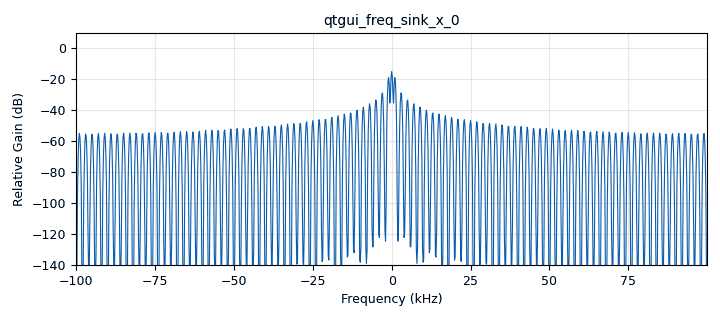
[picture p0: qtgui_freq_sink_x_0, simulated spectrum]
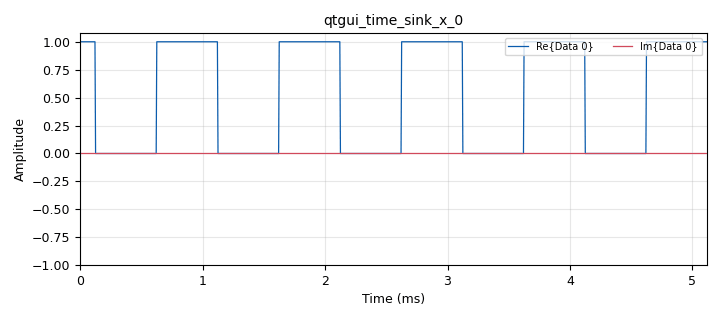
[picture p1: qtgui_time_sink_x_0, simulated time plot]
options:
  parameters:
    generate_options: qt_gui
    id: parte3_3
    output_language: python
    title: Not titled yet
  states: {}

blocks:
- name: A
  id: variable_qtgui_range
  parameters:
    label: Amplitud señal
    start: '0'
    step: '1e-4'
    stop: '1'
    value: '1'
  states: {}
- name: GTX
  id: variable_qtgui_range
  parameters:
    label: Ganancia del TX
    start: '0'
    step: '1'
    stop: '30'
    value: '0'
  states: {}
- name: fc
  id: variable_qtgui_range
  parameters:
    label: Frecuencia portadora
    start: 50e6
    step: 1e6
    stop: 2.2e9
    value: 50e6
  states: {}
- name: fm
  id: variable_qtgui_range
  parameters:
    label: Frecuencia bandabase
    start: '0'
    step: '100'
    stop: '10000'
    value: '1000'
  states: {}
- name: samp_rate
  id: variable
  parameters:
    value: '200000'
  states: {}
- name: analog_sig_source_x_0
  id: analog_sig_source_x
  parameters:
    amp: A
    freq: fm
    offset: '0'
    phase: '0'
    samp_rate: samp_rate
    type: float
    waveform: analog.GR_SQR_WAVE
  states: {}
- name: blocks_float_to_complex_0
  id: blocks_float_to_complex
  parameters: {}
  states: {}
- name: practica3_0
  id: practica3
  parameters:
    l_vector: '1024'
  states: {}
- name: qtgui_freq_sink_x_0
  id: qtgui_freq_sink_x
  parameters:
    bw: samp_rate
    fc: '0'
    fftsize: '1024'
    type: complex
  states: {}
- name: qtgui_time_sink_x_0
  id: qtgui_time_sink_x
  parameters:
    size: '1024'
    srate: samp_rate
    type: complex
  states: {}
- name: uhd_usrp_sink_0
  id: uhd_usrp_sink
  parameters:
    ant0: '"TX/RX"'
    center_freq0: fc
    dev_args: '""'
    gain0: GTX
    samp_rate: samp_rate
    sync: pc_clock
    type: fc32
  states: {}

connections:
- [analog_sig_source_x_0, '0', blocks_float_to_complex_0, '0']
- [analog_sig_source_x_0, '0', practica3_0, '0']
- [blocks_float_to_complex_0, '0', qtgui_freq_sink_x_0, '0']
- [blocks_float_to_complex_0, '0', qtgui_time_sink_x_0, '0']
- [blocks_float_to_complex_0, '0', uhd_usrp_sink_0, '0']

metadata:
  file_format: 1
  grc_version: 3.10.5.1
